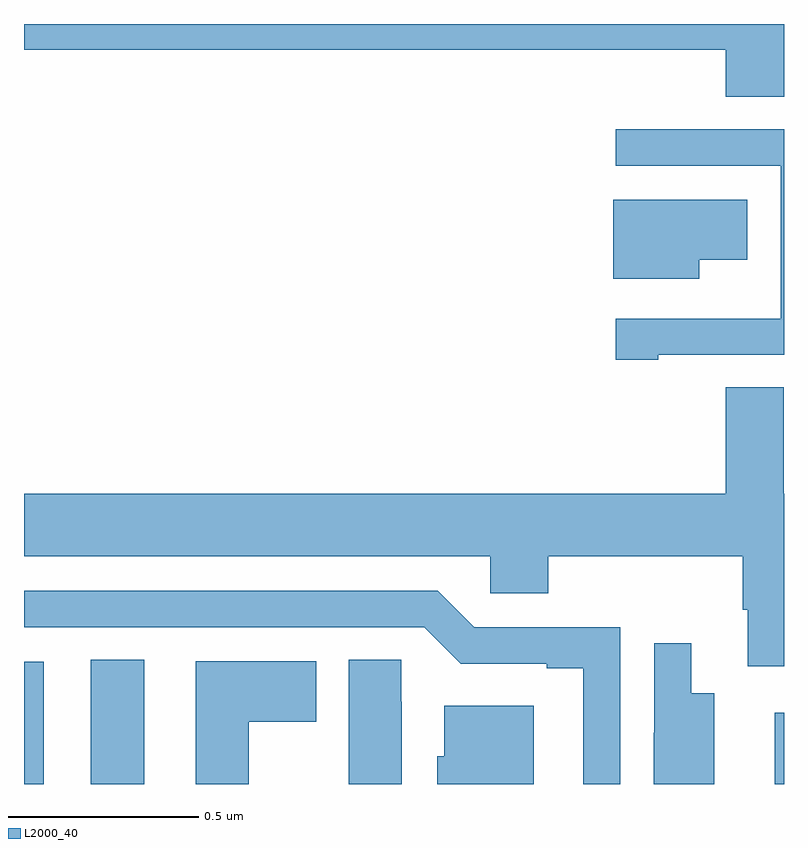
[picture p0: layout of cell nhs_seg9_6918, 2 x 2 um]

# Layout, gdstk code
import gdstk
lib = gdstk.Library(unit=1e-6, precision=1e-09)
def R(c, l, rs):  # rectangles x0, y0, x1, y1
    for r in rs: c.add(gdstk.rectangle(r[:2], r[2:], *l))
def P(c, l, *ps):  # polygons
    for p in ps: c.add(gdstk.Polygon(p, *l))
L2000_40 = (2000, 40)

nhs_seg9_6918 = lib.new_cell('nhs_seg9_6918')
R(nhs_seg9_6918, L2000_40, [(198,1182.5,198.052,1182.822), (198.176,1182.5,198.316,1182.827), (199.976,1182.5,200,1182.688)])
P(nhs_seg9_6918, L2000_40, [(200,1184.5),(198,1184.5),(198,1184.432),(199.847,1184.432),(199.847,1184.308),(200,1184.308)],
  [(199.669,1183.629),(200,1183.629),(200,1184.223),(199.557,1184.223),(199.557,1184.127),(199.992,1184.127),(199.992,1183.726),(199.991,1183.726),(199.991,1183.725),(199.557,1183.725),(199.557,1183.617),(199.669,1183.617)],
  [(199.777,1183.88),(199.903,1183.88),(199.903,1184.038),(199.55,1184.038),(199.55,1183.829),(199.777,1183.829)],
  [(200,1183.264),(199.999,1183.264),(199.999,1183.544),(199.847,1183.544),(199.847,1183.264),(198,1183.264),(198,1183.1),(199.227,1183.1),(199.227,1183.002),(199.379,1183.002),(199.379,1183.1),(199.892,1183.1),(199.892,1182.958),(199.904,1182.958),(199.904,1182.81),(200,1182.81)],
  [(199.569,1182.912),(199.185,1182.912),(199.089,1183.008),(198,1183.008),(198,1182.912),(199.053,1182.912),(199.149,1182.816),(199.376,1182.816),(199.376,1182.804),(199.472,1182.804),(199.472,1182.5),(199.569,1182.5)],
  [(199.816,1182.739),(199.756,1182.739),(199.756,1182.871),(199.658,1182.871),(199.658,1182.635),(199.657,1182.635),(199.657,1182.5),(199.816,1182.5)],
  [(198.994,1182.716),(198.993,1182.716),(198.993,1182.827),(198.854,1182.827),(198.854,1182.5),(198.994,1182.5)],
  [(198.592,1182.664),(198.769,1182.664),(198.769,1182.823),(198.452,1182.823),(198.452,1182.5),(198.592,1182.5)],
  [(199.342,1182.706),(199.106,1182.706),(199.106,1182.573),(199.088,1182.573),(199.088,1182.5),(199.342,1182.5)])

lib.write_gds('nhs_seg9_6918.gds')
